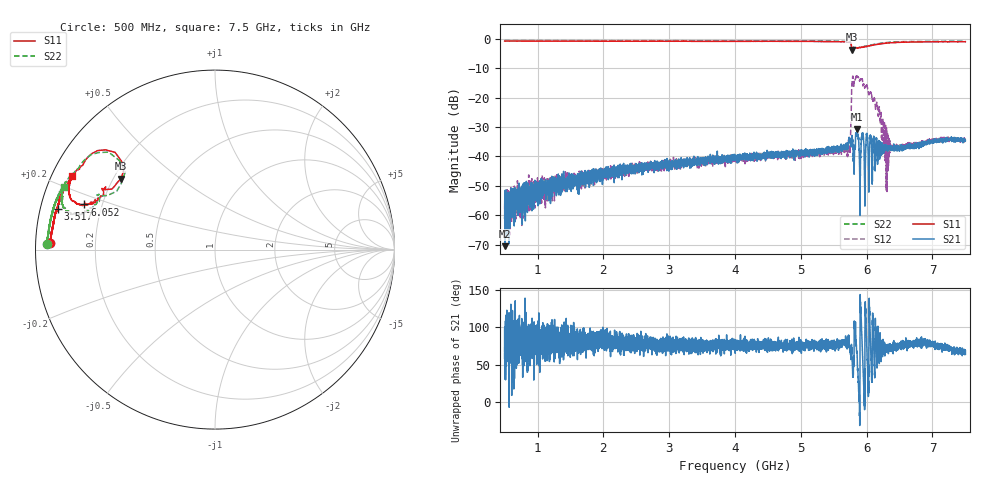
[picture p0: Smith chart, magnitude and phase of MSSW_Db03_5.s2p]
!Keysight Technologies,M9374A,MY55442783,A.12.55.05
!Date: Wednesday, May 19, 2021 15:55:54
!Correction: S11(Full 2 Port(1,2))
!S21(Full 2 Port(1,2))
!S12(Full 2 Port(1,2))
!S22(Full 2 Port(1,2))
!S2P File: Measurements: S11, S21, S12, S22:
# Hz S  RI  R 50
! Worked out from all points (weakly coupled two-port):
!   7001 points, 500 MHz to 7.5 GHz, reference 50 ohm
!   highest |S21| = -30.80 dB at 5.858 GHz (marker M1); lowest = -70.5 dB at 507 MHz (marker M2)
!   lowest |S11| = -3.7 dB at 5.78 GHz (marker M3), VSWR 4.82, Z = 11.5 + j16 ohm
!   |S11| at or under -10 dB: nowhere
!   |S22| runs from -4.0 to -0.5 dB; largest |S21 - S12| = 0.24
!   S11 on the Smith chart (normalised r, x): 500 MHz: 0.04, +0.02; 3.517 GHz: 0.05, +0.13; 6.052 GHz: 0.13, +0.17; 7.5 GHz: 0.06, +0.24
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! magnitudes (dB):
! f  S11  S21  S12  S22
! 500 MHz  -0.7  -61.0  -57.9  -0.6
! 507 MHz  -0.7  -70.5  -55.9  -0.6
! 727 MHz  -0.7  -54.7  -52.7  -0.6
! 1.667 GHz  -0.8  -48.1  -46.5  -0.6
! 2.834 GHz  -0.8  -42.7  -42.4  -0.6
! 3.517 GHz  -0.9  -41.3  -41.7  -0.6
! 4 GHz  -0.8  -40.6  -41.1  -0.7
! 5.167 GHz  -0.9  -38.9  -38.2  -0.7
! 5.687 GHz  -1.1  -36.6  -35.7  -0.9
! 5.731 GHz  -1.2  -34.6  -33.1  -1.1
! 5.78 GHz  -3.7  -33.0  -14.4  -3.9
! 5.805 GHz  -3.1  -42.0  -14.9  -2.9
! 5.858 GHz  -3.2  -30.8  -12.6  -3.1
! 5.887 GHz  -3.0  -38.4  -14.0  -2.9
! 6.003 GHz  -2.6  -32.5  -15.7  -2.4
! 6.03 GHz  -2.3  -45.3  -18.7  -2.2
! 6.052 GHz  -2.3  -33.6  -18.5  -2.1
! 6.082 GHz  -2.2  -43.5  -20.3  -2.0
! 6.186 GHz  -1.8  -35.5  -23.8  -1.6
! 6.263 GHz  -1.6  -38.0  -33.1  -1.3
! 6.334 GHz  -1.4  -37.2  -38.1  -1.2
! 7.5 GHz  -1.0  -34.5  -34.1  -0.8
